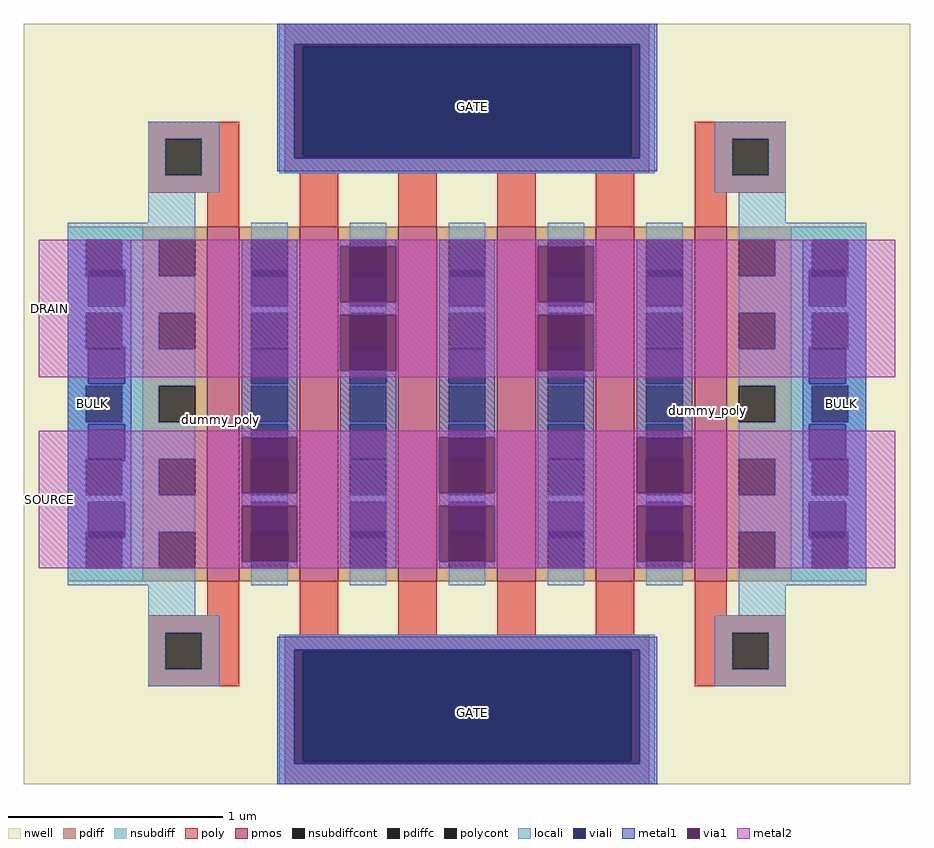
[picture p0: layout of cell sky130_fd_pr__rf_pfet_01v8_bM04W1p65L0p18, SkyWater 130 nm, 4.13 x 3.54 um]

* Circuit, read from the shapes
.subckt sky130_fd_pr__rf_pfet_01v8_bM04W1p65L0p18 BULK DRAIN GATE SOURCE
XM1 SOURCE BULK BULK BULK sky130_fd_pr__pfet_01v8 w=1.65 l=0.15 m=2
XM2 DRAIN GATE SOURCE BULK sky130_fd_pr__pfet_01v8 w=1.65 l=0.18 m=4
.ends

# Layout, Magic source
magic
tech sky130A
magscale 1 2
<< nwell >>
rect 0 0 826 708
<< pmos >>
rect 171 189 201 519
rect 257 189 293 519
rect 349 189 385 519
rect 441 189 477 519
rect 533 189 569 519
rect 625 189 655 519
<< pdiff >>
rect 111 507 171 519
rect 111 473 126 507
rect 160 473 171 507
rect 111 439 171 473
rect 111 405 126 439
rect 160 405 171 439
rect 111 371 171 405
rect 111 337 126 371
rect 160 337 171 371
rect 111 303 171 337
rect 111 269 126 303
rect 160 269 171 303
rect 111 235 171 269
rect 111 201 126 235
rect 160 201 171 235
rect 111 189 171 201
rect 201 507 257 519
rect 201 473 212 507
rect 246 473 257 507
rect 201 439 257 473
rect 201 405 212 439
rect 246 405 257 439
rect 201 371 257 405
rect 201 337 212 371
rect 246 337 257 371
rect 201 303 257 337
rect 201 269 212 303
rect 246 269 257 303
rect 201 235 257 269
rect 201 201 212 235
rect 246 201 257 235
rect 201 189 257 201
rect 293 507 349 519
rect 293 473 304 507
rect 338 473 349 507
rect 293 439 349 473
rect 293 405 304 439
rect 338 405 349 439
rect 293 371 349 405
rect 293 337 304 371
rect 338 337 349 371
rect 293 303 349 337
rect 293 269 304 303
rect 338 269 349 303
rect 293 235 349 269
rect 293 201 304 235
rect 338 201 349 235
rect 293 189 349 201
rect 385 507 441 519
rect 385 473 396 507
rect 430 473 441 507
rect 385 439 441 473
rect 385 405 396 439
rect 430 405 441 439
rect 385 371 441 405
rect 385 337 396 371
rect 430 337 441 371
rect 385 303 441 337
rect 385 269 396 303
rect 430 269 441 303
rect 385 235 441 269
rect 385 201 396 235
rect 430 201 441 235
rect 385 189 441 201
rect 477 507 533 519
rect 477 473 488 507
rect 522 473 533 507
rect 477 439 533 473
rect 477 405 488 439
rect 522 405 533 439
rect 477 371 533 405
rect 477 337 488 371
rect 522 337 533 371
rect 477 303 533 337
rect 477 269 488 303
rect 522 269 533 303
rect 477 235 533 269
rect 477 201 488 235
rect 522 201 533 235
rect 477 189 533 201
rect 569 507 625 519
rect 569 473 580 507
rect 614 473 625 507
rect 569 439 625 473
rect 569 405 580 439
rect 614 405 625 439
rect 569 371 625 405
rect 569 337 580 371
rect 614 337 625 371
rect 569 303 625 337
rect 569 269 580 303
rect 614 269 625 303
rect 569 235 625 269
rect 569 201 580 235
rect 614 201 625 235
rect 569 189 625 201
rect 655 507 715 519
rect 655 473 666 507
rect 700 473 715 507
rect 655 439 715 473
rect 655 405 666 439
rect 700 405 715 439
rect 655 371 715 405
rect 655 337 666 371
rect 700 337 715 371
rect 655 303 715 337
rect 655 269 666 303
rect 700 269 715 303
rect 655 235 715 269
rect 655 201 666 235
rect 700 201 715 235
rect 655 189 715 201
<< pdiffc >>
rect 126 473 160 507
rect 126 405 160 439
rect 126 337 160 371
rect 126 269 160 303
rect 126 201 160 235
rect 212 473 246 507
rect 212 405 246 439
rect 212 337 246 371
rect 212 269 246 303
rect 212 201 246 235
rect 304 473 338 507
rect 304 405 338 439
rect 304 337 338 371
rect 304 269 338 303
rect 304 201 338 235
rect 396 473 430 507
rect 396 405 430 439
rect 396 337 430 371
rect 396 269 430 303
rect 396 201 430 235
rect 488 473 522 507
rect 488 405 522 439
rect 488 337 522 371
rect 488 269 522 303
rect 488 201 522 235
rect 580 473 614 507
rect 580 405 614 439
rect 580 337 614 371
rect 580 269 614 303
rect 580 201 614 235
rect 666 473 700 507
rect 666 405 700 439
rect 666 337 700 371
rect 666 269 700 303
rect 666 201 700 235
<< nsubdiff >>
rect 41 507 111 519
rect 41 473 58 507
rect 92 473 111 507
rect 41 439 111 473
rect 41 405 58 439
rect 92 405 111 439
rect 41 371 111 405
rect 41 337 58 371
rect 92 337 111 371
rect 41 303 111 337
rect 41 269 58 303
rect 92 269 111 303
rect 41 235 111 269
rect 41 201 58 235
rect 92 201 111 235
rect 41 189 111 201
rect 715 507 785 519
rect 715 473 734 507
rect 768 473 785 507
rect 715 439 785 473
rect 715 405 734 439
rect 768 405 785 439
rect 715 371 785 405
rect 715 337 734 371
rect 768 337 785 371
rect 715 303 785 337
rect 715 269 734 303
rect 768 269 785 303
rect 715 235 785 269
rect 715 201 734 235
rect 768 201 785 235
rect 715 189 785 201
<< nsubdiffcont >>
rect 58 473 92 507
rect 58 405 92 439
rect 58 337 92 371
rect 58 269 92 303
rect 58 201 92 235
rect 734 473 768 507
rect 734 405 768 439
rect 734 337 768 371
rect 734 269 768 303
rect 734 201 768 235
<< poly >>
rect 243 687 583 708
rect 116 601 201 617
rect 116 567 132 601
rect 166 567 201 601
rect 243 585 260 687
rect 566 585 583 687
rect 243 569 583 585
rect 625 601 710 617
rect 116 551 201 567
rect 171 519 201 551
rect 257 519 293 569
rect 349 519 385 569
rect 441 519 477 569
rect 533 519 569 569
rect 625 567 660 601
rect 694 567 710 601
rect 625 551 710 567
rect 625 519 655 551
rect 171 157 201 189
rect 116 141 201 157
rect 116 107 132 141
rect 166 107 201 141
rect 257 139 293 189
rect 349 139 385 189
rect 441 139 477 189
rect 533 139 569 189
rect 625 157 655 189
rect 625 141 710 157
rect 116 91 201 107
rect 243 123 583 139
rect 243 21 260 123
rect 566 21 583 123
rect 625 107 660 141
rect 694 107 710 141
rect 625 91 710 107
rect 243 0 583 21
<< polycont >>
rect 132 567 166 601
rect 260 585 566 687
rect 660 567 694 601
rect 132 107 166 141
rect 260 21 566 123
rect 660 107 694 141
<< locali >>
rect 238 689 588 708
rect 116 601 182 617
rect 116 567 132 601
rect 166 567 182 601
rect 238 583 252 689
rect 574 583 588 689
rect 238 569 588 583
rect 644 601 710 617
rect 116 551 182 567
rect 644 567 660 601
rect 694 567 710 601
rect 644 551 710 567
rect 116 523 160 551
rect 666 523 710 551
rect 41 507 160 523
rect 41 473 58 507
rect 92 479 126 507
rect 94 473 126 479
rect 41 445 60 473
rect 94 445 160 473
rect 41 439 160 445
rect 41 405 58 439
rect 92 407 126 439
rect 94 405 126 407
rect 41 373 60 405
rect 94 373 160 405
rect 41 371 160 373
rect 41 337 58 371
rect 92 337 126 371
rect 41 335 160 337
rect 41 303 60 335
rect 94 303 160 335
rect 41 269 58 303
rect 94 301 126 303
rect 92 269 126 301
rect 41 263 160 269
rect 41 235 60 263
rect 94 235 160 263
rect 41 201 58 235
rect 94 229 126 235
rect 92 201 126 229
rect 41 185 160 201
rect 212 507 246 523
rect 212 439 246 445
rect 212 371 246 373
rect 212 335 246 337
rect 212 263 246 269
rect 212 185 246 201
rect 304 507 338 523
rect 304 439 338 445
rect 304 371 338 373
rect 304 335 338 337
rect 304 263 338 269
rect 304 185 338 201
rect 396 507 430 523
rect 396 439 430 445
rect 396 371 430 373
rect 396 335 430 337
rect 396 263 430 269
rect 396 185 430 201
rect 488 507 522 523
rect 488 439 522 445
rect 488 371 522 373
rect 488 335 522 337
rect 488 263 522 269
rect 488 185 522 201
rect 580 507 614 523
rect 580 439 614 445
rect 580 371 614 373
rect 580 335 614 337
rect 580 263 614 269
rect 580 185 614 201
rect 666 507 785 523
rect 700 479 734 507
rect 700 473 732 479
rect 768 473 785 507
rect 666 445 732 473
rect 766 445 785 473
rect 666 439 785 445
rect 700 407 734 439
rect 700 405 732 407
rect 768 405 785 439
rect 666 373 732 405
rect 766 373 785 405
rect 666 371 785 373
rect 700 337 734 371
rect 768 337 785 371
rect 666 335 785 337
rect 666 303 732 335
rect 766 303 785 335
rect 700 301 732 303
rect 700 269 734 301
rect 768 269 785 303
rect 666 263 785 269
rect 666 235 732 263
rect 766 235 785 263
rect 700 229 732 235
rect 700 201 734 229
rect 768 201 785 235
rect 666 185 785 201
rect 116 157 160 185
rect 666 157 710 185
rect 116 141 182 157
rect 116 107 132 141
rect 166 107 182 141
rect 644 141 710 157
rect 116 91 182 107
rect 238 125 588 139
rect 238 19 252 125
rect 574 19 588 125
rect 644 107 660 141
rect 694 107 710 141
rect 644 91 710 107
rect 238 0 588 19
<< viali >>
rect 252 687 574 689
rect 252 585 260 687
rect 260 585 566 687
rect 566 585 574 687
rect 252 583 574 585
rect 60 473 92 479
rect 92 473 94 479
rect 60 445 94 473
rect 60 405 92 407
rect 92 405 94 407
rect 60 373 94 405
rect 60 303 94 335
rect 60 301 92 303
rect 92 301 94 303
rect 60 235 94 263
rect 60 229 92 235
rect 92 229 94 235
rect 212 473 246 479
rect 212 445 246 473
rect 212 405 246 407
rect 212 373 246 405
rect 212 303 246 335
rect 212 301 246 303
rect 212 235 246 263
rect 212 229 246 235
rect 304 473 338 479
rect 304 445 338 473
rect 304 405 338 407
rect 304 373 338 405
rect 304 303 338 335
rect 304 301 338 303
rect 304 235 338 263
rect 304 229 338 235
rect 396 473 430 479
rect 396 445 430 473
rect 396 405 430 407
rect 396 373 430 405
rect 396 303 430 335
rect 396 301 430 303
rect 396 235 430 263
rect 396 229 430 235
rect 488 473 522 479
rect 488 445 522 473
rect 488 405 522 407
rect 488 373 522 405
rect 488 303 522 335
rect 488 301 522 303
rect 488 235 522 263
rect 488 229 522 235
rect 580 473 614 479
rect 580 445 614 473
rect 580 405 614 407
rect 580 373 614 405
rect 580 303 614 335
rect 580 301 614 303
rect 580 235 614 263
rect 580 229 614 235
rect 732 473 734 479
rect 734 473 766 479
rect 732 445 766 473
rect 732 405 734 407
rect 734 405 766 407
rect 732 373 766 405
rect 732 303 766 335
rect 732 301 734 303
rect 734 301 766 303
rect 732 235 766 263
rect 732 229 734 235
rect 734 229 766 235
rect 252 123 574 125
rect 252 21 260 123
rect 260 21 566 123
rect 566 21 574 123
rect 252 19 574 21
<< metal1 >>
rect 236 689 590 708
rect 236 583 252 689
rect 574 583 590 689
rect 236 571 590 583
rect 41 479 100 507
rect 41 445 60 479
rect 94 445 100 479
rect 41 407 100 445
rect 41 373 60 407
rect 94 373 100 407
rect 41 335 100 373
rect 41 301 60 335
rect 94 301 100 335
rect 41 263 100 301
rect 41 229 60 263
rect 94 229 100 263
rect 41 201 100 229
rect 203 479 255 507
rect 203 445 212 479
rect 246 445 255 479
rect 203 407 255 445
rect 203 373 212 407
rect 246 373 255 407
rect 203 335 255 373
rect 203 323 212 335
rect 246 323 255 335
rect 203 263 255 271
rect 203 259 212 263
rect 246 259 255 263
rect 203 201 255 207
rect 295 501 347 507
rect 295 445 304 449
rect 338 445 347 449
rect 295 437 347 445
rect 295 373 304 385
rect 338 373 347 385
rect 295 335 347 373
rect 295 301 304 335
rect 338 301 347 335
rect 295 263 347 301
rect 295 229 304 263
rect 338 229 347 263
rect 295 201 347 229
rect 387 479 439 507
rect 387 445 396 479
rect 430 445 439 479
rect 387 407 439 445
rect 387 373 396 407
rect 430 373 439 407
rect 387 335 439 373
rect 387 323 396 335
rect 430 323 439 335
rect 387 263 439 271
rect 387 259 396 263
rect 430 259 439 263
rect 387 201 439 207
rect 479 501 531 507
rect 479 445 488 449
rect 522 445 531 449
rect 479 437 531 445
rect 479 373 488 385
rect 522 373 531 385
rect 479 335 531 373
rect 479 301 488 335
rect 522 301 531 335
rect 479 263 531 301
rect 479 229 488 263
rect 522 229 531 263
rect 479 201 531 229
rect 571 479 623 507
rect 571 445 580 479
rect 614 445 623 479
rect 571 407 623 445
rect 571 373 580 407
rect 614 373 623 407
rect 571 335 623 373
rect 571 323 580 335
rect 614 323 623 335
rect 571 263 623 271
rect 571 259 580 263
rect 614 259 623 263
rect 571 201 623 207
rect 726 479 785 507
rect 726 445 732 479
rect 766 445 785 479
rect 726 407 785 445
rect 726 373 732 407
rect 766 373 785 407
rect 726 335 785 373
rect 726 301 732 335
rect 766 301 785 335
rect 726 263 785 301
rect 726 229 732 263
rect 766 229 785 263
rect 726 201 785 229
rect 236 125 590 137
rect 236 19 252 125
rect 574 19 590 125
rect 236 0 590 19
<< via1 >>
rect 203 301 212 323
rect 212 301 246 323
rect 246 301 255 323
rect 203 271 255 301
rect 203 229 212 259
rect 212 229 246 259
rect 246 229 255 259
rect 203 207 255 229
rect 295 479 347 501
rect 295 449 304 479
rect 304 449 338 479
rect 338 449 347 479
rect 295 407 347 437
rect 295 385 304 407
rect 304 385 338 407
rect 338 385 347 407
rect 387 301 396 323
rect 396 301 430 323
rect 430 301 439 323
rect 387 271 439 301
rect 387 229 396 259
rect 396 229 430 259
rect 430 229 439 259
rect 387 207 439 229
rect 479 479 531 501
rect 479 449 488 479
rect 488 449 522 479
rect 522 449 531 479
rect 479 407 531 437
rect 479 385 488 407
rect 488 385 522 407
rect 522 385 531 407
rect 571 301 580 323
rect 580 301 614 323
rect 614 301 623 323
rect 571 271 623 301
rect 571 229 580 259
rect 580 229 614 259
rect 614 229 623 259
rect 571 207 623 229
<< metal2 >>
rect 14 501 812 507
rect 14 449 295 501
rect 347 449 479 501
rect 531 449 812 501
rect 14 437 812 449
rect 14 385 295 437
rect 347 385 479 437
rect 531 385 812 437
rect 14 379 812 385
rect 14 323 812 329
rect 14 271 203 323
rect 255 271 387 323
rect 439 271 571 323
rect 623 271 812 323
rect 14 259 812 271
rect 14 207 203 259
rect 255 207 387 259
rect 439 207 571 259
rect 623 207 812 259
rect 14 201 812 207
<< labels >>
flabel comment s 637 348 637 348 0 FreeSans 180 90 0 0 dummy_poly
flabel comment s 183 340 183 340 0 FreeSans 180 90 0 0 dummy_poly
flabel metal1 s 301 606 535 656 0 FreeSans 200 0 0 0 GATE
port 3 nsew
flabel metal1 s 301 42 535 92 0 FreeSans 200 0 0 0 GATE
port 3 nsew
flabel metal1 s 41 339 87 369 0 FreeSans 200 90 0 0 BULK
port 1 nsew
flabel metal1 s 739 339 785 369 0 FreeSans 200 90 0 0 BULK
port 1 nsew
flabel metal2 s 14 201 35 329 7 FreeSans 300 180 0 0 SOURCE
port 4 nsew
flabel metal2 s 14 379 35 507 7 FreeSans 300 180 0 0 DRAIN
port 2 nsew
<< properties >>
string GDS_FILE $PDKPATH/libs.ref/sky130_fd_pr/gds/sky130_fd_pr.gds
string GDS_END 9718288
string GDS_START 9702864
<< end >>
